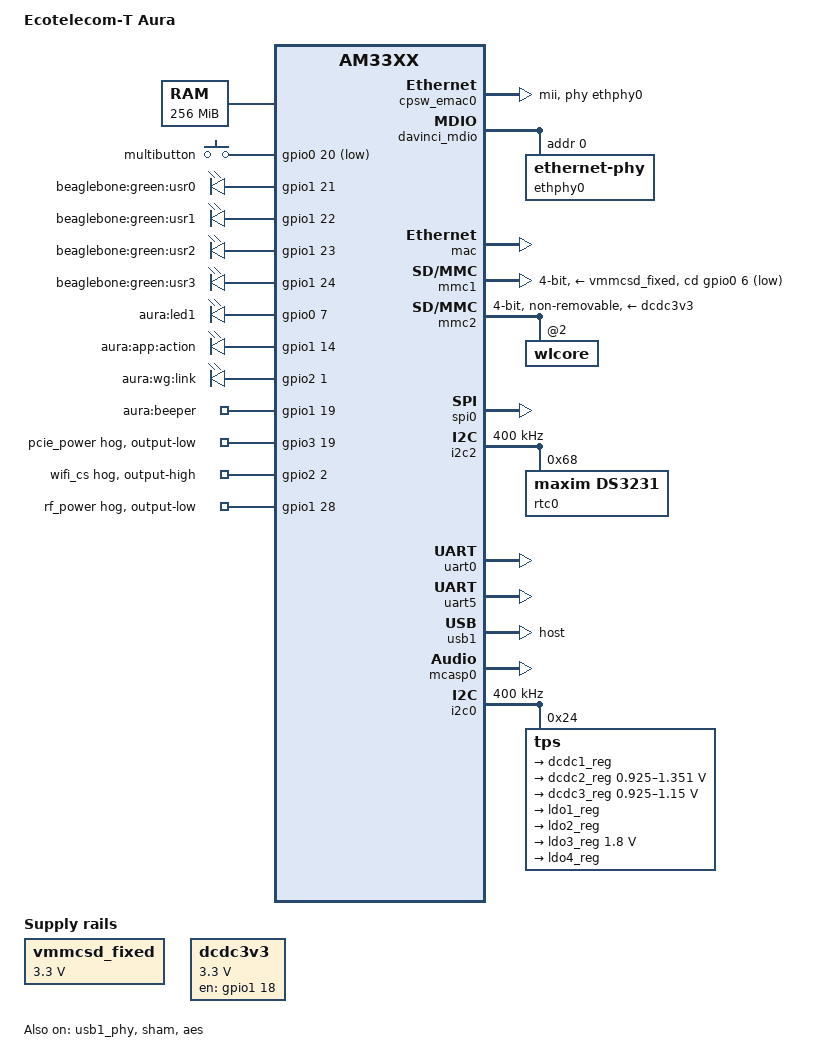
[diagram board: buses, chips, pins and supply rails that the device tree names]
// SPDX-License-Identifier: GPL-2.0-only
/*
 * Copyright (C) 2020 Ecotelecom-T
 */
/dts-v1/;

#include "am33xx.dtsi"
#include <dt-bindings/input/input.h>
#include <dt-bindings/leds/common.h>

/ {
	model = "Ecotelecom-T Aura";
	compatible = "aura,am335x-aura", "ti,am33xx";

	cpus {
		cpu@0 {
			cpu0-supply = <&dcdc2_reg>;
		};
	};

	memory@80000000 {
		device_type = "memory";
		reg = <0x80000000 0x10000000>; /* 256 MB */
	};

	user_buttons: user_buttons {
		compatible = "gpio-keys";
		pinctrl-names = "default";
		pinctrl-0 = <&user_buttons_pins>;
		autorepeat;

		button@0 {
			label = "multibutton";
			linux,code = <KEY_POWER>;
			gpios = <&gpio0 20 GPIO_ACTIVE_LOW>;
			wakeup-source;
		};
	};

	leds: user_leds {
		
		pinctrl-names = "default";
		pinctrl-0 = <&user_leds_s0>;

		compatible = "gpio-leds";

		usr_0_led {
			label = "beaglebone:green:usr0";
			gpios = <&gpio1 21 GPIO_ACTIVE_HIGH>;
			linux,default-trigger = "oneshot";
			default-state = "off";
		};

		usr_1_led {
			label = "beaglebone:green:usr1";
			gpios = <&gpio1 22 GPIO_ACTIVE_HIGH>;
			linux,default-trigger = "mmc0";
			default-state = "off";
		};

		usr_2_led {
			label = "beaglebone:green:usr2";
			gpios = <&gpio1 23 GPIO_ACTIVE_HIGH>;
			linux,default-trigger = "cpu0";
			default-state = "off";
		};

		usr_3_led {
			label = "beaglebone:green:usr3";
			gpios = <&gpio1 24 GPIO_ACTIVE_HIGH>;
			linux,default-trigger = "mmc1";
			default-state = "off";
		};

		usr_4_led {
			label = "aura:led1";
			gpios = <&gpio0 7 GPIO_ACTIVE_HIGH>;
			linux,default-trigger = "oneshot";
			default-state = "on";
		};

		usr_5_led {
			label = "aura:app:action";
			gpios = <&gpio1 14 GPIO_ACTIVE_HIGH>;
			linux,default-trigger = "transient";
			default-state = "off";
		};

		usr_6_led {
			label = "aura:wg:link";
			gpios = <&gpio2 1 GPIO_ACTIVE_HIGH>;
			linux,default-trigger = "netdev";
			default-state = "off";
		};

		usr_7_led {
			label = "aura:beeper";
			gpios = <&gpio1 19 GPIO_ACTIVE_HIGH>;
			linux,default-trigger = "oneshot";
			default-state = "off";
		};
	};

	pcm5102a: pcm5102a {
		#sound-dai-cells = <0>;
		compatible = "ti,pcm5102a";
		status = "okay";
	};

	sound {
		compatible = "simple-audio-card";
		simple-audio-card,name = "TI PCM5102A";
		simple-audio-card,format = "i2s";
		simple-audio-card,bitclock-master = <&dailink0_master>;
		simple-audio-card,frame-master = <&dailink0_master>;
		simple-audio-card,bitclock-inversion;
		dailink0_master: simple-audio-card,cpu {
			sound-dai = <&mcasp0>;
			system-clock-frequency = <24000000>;
			system-clock-direction-out;
		};
		
		simple-audio-card,codec {
			sound-dai = <&pcm5102a>;     
		};
	};

	vmmcsd_fixed: fixedregulator0 {
		compatible = "regulator-fixed";
		regulator-name = "vmmcsd_fixed";
		regulator-min-microvolt = <3300000>;
		regulator-max-microvolt = <3300000>;		
		regulator-always-on;
	};

	dcdc3v3: fixedregulator1 {
		compatible = "regulator-fixed";
		regulator-name = "dcdc3v3";
		regulator-min-microvolt = <3300000>;
		regulator-max-microvolt = <3300000>;
		regulator-always-on;
		enable-active-high;
		gpio = <&gpio1 18 GPIO_ACTIVE_HIGH >; /* P9-14 */
	};

};

/* Ethernet */
&cpsw_emac0 {
	status = "okay";
	phy-handle = <&ethphy0>;
	phy-mode = "mii";
};


&davinci_mdio {
	pinctrl-names = "default", "sleep";
	pinctrl-0 = <&davinci_mdio_default>;
	pinctrl-1 = <&davinci_mdio_sleep>;
	status = "okay";

	ethphy0: ethernet-phy@0 {
		reg = <0>;
	};
};

&mac {
	slaves = <1>;
	pinctrl-names = "default", "sleep";
	pinctrl-0 = <&cpsw_default>;
	pinctrl-1 = <&cpsw_sleep>;
	status = "okay";
};

&am33xx_pinmux {
	cpsw_default: cpsw_default {
		pinctrl-single,pins = <
			/* Slave 1 */
			AM33XX_PADCONF(AM335X_PIN_MII1_RX_ER, PIN_INPUT_PULLUP, MUX_MODE0)
			AM33XX_PADCONF(AM335X_PIN_MII1_TX_EN, PIN_OUTPUT_PULLDOWN, MUX_MODE0)
			AM33XX_PADCONF(AM335X_PIN_MII1_RX_DV, PIN_INPUT_PULLUP, MUX_MODE0)
			AM33XX_PADCONF(AM335X_PIN_MII1_TXD3, PIN_OUTPUT_PULLDOWN, MUX_MODE0)
			AM33XX_PADCONF(AM335X_PIN_MII1_TXD2, PIN_OUTPUT_PULLDOWN, MUX_MODE0)
			AM33XX_PADCONF(AM335X_PIN_MII1_TXD1, PIN_OUTPUT_PULLDOWN, MUX_MODE0)
			AM33XX_PADCONF(AM335X_PIN_MII1_TXD0, PIN_OUTPUT_PULLDOWN, MUX_MODE0)
			AM33XX_PADCONF(AM335X_PIN_MII1_TX_CLK, PIN_INPUT_PULLUP, MUX_MODE0)
			AM33XX_PADCONF(AM335X_PIN_MII1_RX_CLK, PIN_INPUT_PULLUP, MUX_MODE0)
			AM33XX_PADCONF(AM335X_PIN_MII1_RXD3, PIN_INPUT_PULLUP, MUX_MODE0)
			AM33XX_PADCONF(AM335X_PIN_MII1_RXD2, PIN_INPUT_PULLUP, MUX_MODE0)
			AM33XX_PADCONF(AM335X_PIN_MII1_RXD1, PIN_INPUT_PULLUP, MUX_MODE0)
			AM33XX_PADCONF(AM335X_PIN_MII1_RXD0, PIN_INPUT_PULLUP, MUX_MODE0)
		>;
	};

	cpsw_sleep: cpsw_sleep {
		pinctrl-single,pins = <
			/* Slave 1 reset value */
			AM33XX_PADCONF(AM335X_PIN_MII1_RX_ER, PIN_INPUT_PULLDOWN, MUX_MODE7)
			AM33XX_PADCONF(AM335X_PIN_MII1_TX_EN, PIN_INPUT_PULLDOWN, MUX_MODE7)
			AM33XX_PADCONF(AM335X_PIN_MII1_RX_DV, PIN_INPUT_PULLDOWN, MUX_MODE7)
			AM33XX_PADCONF(AM335X_PIN_MII1_TXD3, PIN_INPUT_PULLDOWN, MUX_MODE7)
			AM33XX_PADCONF(AM335X_PIN_MII1_TXD2, PIN_INPUT_PULLDOWN, MUX_MODE7)
			AM33XX_PADCONF(AM335X_PIN_MII1_TXD1, PIN_INPUT_PULLDOWN, MUX_MODE7)
			AM33XX_PADCONF(AM335X_PIN_MII1_TXD0, PIN_INPUT_PULLDOWN, MUX_MODE7)
			AM33XX_PADCONF(AM335X_PIN_MII1_TX_CLK, PIN_INPUT_PULLDOWN, MUX_MODE7)
			AM33XX_PADCONF(AM335X_PIN_MII1_RX_CLK, PIN_INPUT_PULLDOWN, MUX_MODE7)
			AM33XX_PADCONF(AM335X_PIN_MII1_RXD3, PIN_INPUT_PULLDOWN, MUX_MODE7)
			AM33XX_PADCONF(AM335X_PIN_MII1_RXD2, PIN_INPUT_PULLDOWN, MUX_MODE7)
			AM33XX_PADCONF(AM335X_PIN_MII1_RXD1, PIN_INPUT_PULLDOWN, MUX_MODE7)
			AM33XX_PADCONF(AM335X_PIN_MII1_RXD0, PIN_INPUT_PULLDOWN, MUX_MODE7)
		>;
	};

	davinci_mdio_default: davinci_mdio_default {
		pinctrl-single,pins = <
			/* MDIO */
			AM33XX_PADCONF(AM335X_PIN_MDIO, PIN_INPUT_PULLUP | SLEWCTRL_FAST, MUX_MODE0)
			AM33XX_PADCONF(AM335X_PIN_MDC, PIN_OUTPUT_PULLUP, MUX_MODE0)
		>;
	};

	davinci_mdio_sleep: davinci_mdio_sleep {
		pinctrl-single,pins = <
			/* MDIO reset value */
			AM33XX_PADCONF(AM335X_PIN_MDIO, PIN_INPUT_PULLDOWN, MUX_MODE7)
			AM33XX_PADCONF(AM335X_PIN_MDC, PIN_INPUT_PULLDOWN, MUX_MODE7)
		>;
	};


	mdio_pins: pinmux_mdio {
		pinctrl-single,pins = <
			AM33XX_PADCONF(AM335X_PIN_MDIO, PIN_INPUT_PULLUP | SLEWCTRL_FAST, MUX_MODE0)
			AM33XX_PADCONF(AM335X_PIN_MDC, PIN_OUTPUT_PULLUP, MUX_MODE0)
		>;
	};

	user_leds_s0: user_leds_s0 {
		pinctrl-single,pins = <
			AM33XX_PADCONF(AM335X_PIN_GPMC_A5, PIN_OUTPUT, MUX_MODE7) /* (V15) gpmc_a5.gpio1[21] - USR_LED_0 */
			AM33XX_PADCONF(AM335X_PIN_GPMC_A6, PIN_OUTPUT, MUX_MODE7) /* (U15) gpmc_a6.gpio1[22] - USR_LED_1 */
			AM33XX_PADCONF(AM335X_PIN_GPMC_A7, PIN_OUTPUT, MUX_MODE7) /* (T15) gpmc_a7.gpio1[23] - USR_LED_2 */
			AM33XX_PADCONF(AM335X_PIN_GPMC_A8, PIN_OUTPUT, MUX_MODE7) /* (V16) gpmc_a8.gpio1[24] - USR_LED_3 */
			AM33XX_PADCONF(AM335X_PIN_ECAP0_IN_PWM0_OUT, PIN_OUTPUT, MUX_MODE7) /* (C18) gpio0[7] - TOP_LED */
		>;
	};

	audio_pins: pinmux_audio_pins {
		pinctrl-single,pins = <
			AM33XX_PADCONF(AM335X_PIN_MCASP0_AHCLKX, PIN_INPUT_PULLUP, MUX_MODE0) /* mcasp0_ahcklx.mcasp0_ahclkx */
			AM33XX_PADCONF(AM335X_PIN_MCASP0_AHCLKR, PIN_OUTPUT_PULLDOWN, MUX_MODE2) /* mcasp0_ahclkr.mcasp0_axr2*/
			AM33XX_PADCONF(AM335X_PIN_MCASP0_FSX, PIN_OUTPUT_PULLUP, MUX_MODE0)
			AM33XX_PADCONF(AM335X_PIN_MCASP0_ACLKX, PIN_OUTPUT_PULLDOWN, MUX_MODE0)
		>;
	};

	uart0_pins: pinmux_uart0 {
		pinctrl-single,pins = <
			AM33XX_PADCONF(AM335X_PIN_UART0_RXD, PIN_INPUT_PULLUP, MUX_MODE0)
			AM33XX_PADCONF(AM335X_PIN_UART0_TXD, PIN_OUTPUT_PULLDOWN, MUX_MODE0)
		>;
	};

	uart5_pins: pinmux_uart5 {
		pinctrl-single,pins = <
			AM33XX_PADCONF(AM335X_PIN_LCD_DATA9, PIN_INPUT_PULLUP, MUX_MODE4)	/* (U2) lcd_data9.uart5_rxd */
			AM33XX_PADCONF(AM335X_PIN_LCD_DATA8, PIN_OUTPUT_PULLDOWN, MUX_MODE4)	/* (U1) lcd_data8.uart5_txd */
		>;
	};

	sd_pins: pinmux_sd_card {
		pinctrl-single,pins = <
			AM33XX_PADCONF(AM335X_PIN_MMC0_DAT3, PIN_INPUT_PULLUP, MUX_MODE0)
			AM33XX_PADCONF(AM335X_PIN_MMC0_DAT2, PIN_INPUT_PULLUP, MUX_MODE0)
			AM33XX_PADCONF(AM335X_PIN_MMC0_DAT1, PIN_INPUT_PULLUP, MUX_MODE0)
			AM33XX_PADCONF(AM335X_PIN_MMC0_DAT0, PIN_INPUT_PULLUP, MUX_MODE0)
			AM33XX_PADCONF(AM335X_PIN_MMC0_CLK, PIN_INPUT_PULLUP, MUX_MODE0)
			AM33XX_PADCONF(AM335X_PIN_MMC0_CMD, PIN_INPUT_PULLUP, MUX_MODE0)
			AM33XX_PADCONF(AM335X_PIN_SPI0_CS1, PIN_INPUT, MUX_MODE7)		/* spi0_cs1.gpio0_6 */
		>;
	};

	wireless_pins: pinmux_emmc {
		pinctrl-single,pins = <
			AM33XX_PADCONF(AM335X_PIN_GPMC_CSN1, PIN_INPUT_PULLUP, MUX_MODE2)	/* gpmc_csn1.mmc1_clk */
			AM33XX_PADCONF(AM335X_PIN_GPMC_CSN2, PIN_INPUT_PULLUP, MUX_MODE2)	/* gpmc_csn2.mmc1_cmd */
			AM33XX_PADCONF(AM335X_PIN_GPMC_AD0, PIN_INPUT_PULLUP, MUX_MODE1)	/* gpmc_ad0.mmc1_dat0 */
			AM33XX_PADCONF(AM335X_PIN_GPMC_AD1, PIN_INPUT_PULLUP, MUX_MODE1)	/* gpmc_ad1.mmc1_dat1 */
			AM33XX_PADCONF(AM335X_PIN_GPMC_AD2, PIN_INPUT_PULLUP, MUX_MODE1)	/* gpmc_ad2.mmc1_dat2 */
			AM33XX_PADCONF(AM335X_PIN_GPMC_AD3, PIN_INPUT_PULLUP, MUX_MODE1)	/* gpmc_ad3.mmc1_dat3 */
		>;
	};

	gpio1_pins: pinmux_gpio1 {
		pinctrl-single,pins = <
			AM33XX_PADCONF(AM335X_PIN_GPMC_BEN1, PIN_OUTPUT, MUX_MODE7) /* rf_power */
		>;
	};

	gpio2_pins: pinmux_gpio2 {
		pinctrl-single,pins = <
			AM33XX_PADCONF(AM335X_PIN_GPMC_ADVN_ALE, PIN_OUTPUT_PULLDOWN, MUX_MODE7) /* wifi_cs */
		>;
	};

	gpio3_pins: pinmux_gpio3 {
		pinctrl-single,pins = <
			AM33XX_PADCONF(AM335X_PIN_MCASP0_FSR, PIN_OUTPUT, MUX_MODE7) /* pcie_power */
		>;
	};

	spi0_pins: pinmux_spi0 {
		pinctrl-single,pins = <
			AM33XX_PADCONF(AM335X_PIN_SPI0_SCLK, PIN_INPUT_PULLUP, MUX_MODE0)
			AM33XX_PADCONF(AM335X_PIN_SPI0_CS0, PIN_INPUT_PULLUP, MUX_MODE0)
			AM33XX_PADCONF(AM335X_PIN_SPI0_D0, PIN_INPUT_PULLUP, MUX_MODE0)
			AM33XX_PADCONF(AM335X_PIN_SPI0_D1, PIN_INPUT_PULLUP, MUX_MODE0)
		>;
	};

	i2c2_pins: pinmux_i2c2 {
		pinctrl-single,pins = <
			AM33XX_PADCONF(AM335X_PIN_UART1_CTSN, PIN_INPUT_PULLUP, MUX_MODE3)
			AM33XX_PADCONF(AM335X_PIN_UART1_RTSN, PIN_INPUT_PULLUP, MUX_MODE3)
		>;
	};

	user_buttons_pins: pinmux_user_buttons {
		pinctrl-single,pins = <
			AM33XX_PADCONF(AM335X_PIN_XDMA_EVENT_INTR1, PIN_INPUT_PULLDOWN, MUX_MODE7)/* (D14) gpio0[20] - USER BUTTON */
		>;
	};

	i2c0_pins: pinmux_i2c0_pins {
		pinctrl-single,pins = <
			AM33XX_PADCONF(AM335X_PIN_I2C0_SDA, PIN_INPUT, MUX_MODE0)
			AM33XX_PADCONF(AM335X_PIN_I2C0_SCL, PIN_INPUT, MUX_MODE0)
		>;
	};

	beeper_pins: pinmux_beeper {
		pinctrl-single,pins = <
			AM33XX_PADCONF(AM335X_PIN_GPMC_A3, PIN_OUTPUT, MUX_MODE7) /* (T14) gpio1[19] OR EHRPWM1B - BUZZER */
		>;
	};

};

/* MMC */
&mmc1 {
	/* Bootable SD card slot */
	status = "okay";
	bus-width = <4>;
	pinctrl-names = "default";
	pinctrl-0 = <&sd_pins>;
	cd-gpios = <&gpio0 6 GPIO_ACTIVE_LOW>;
	vmmc-supply = <&vmmcsd_fixed>;
};

&mmc2 {
	/* Wifi on MMC #2 */
	status = "okay";
	pinctrl-names = "default";
	pinctrl-0 = <&wireless_pins>;
	bus-width = <4>;
	ti,non-removable;
	non-removable;
	keep-power-in-suspend;
	/*
	dmas = <&edma_xbar 12 0 1
		&edma_xbar 13 0 2>;
	dma-names = "tx", "rx";
	*/
	vmmc-supply = <&dcdc3v3>;
	
	#address-cells = <1>;
	#size-cells = <0>;
	wlcore: wlcore@2 {
		reg = <2>;
	};
};

&gpio3 {
	pinctrl-names = "default";
	pinctrl-0 = <&gpio3_pins>;
	status = "okay";
	pcie_power {
		gpio-hog;
		gpios = <19 GPIO_ACTIVE_HIGH>;
		output-low;
		line-name = "pcie_power";
	};
};

&gpio2 {
	pinctrl-names = "default";
	pinctrl-0 = <&gpio2_pins>;
	wifi_cs {
		gpio-hog;
		gpios = <2 GPIO_ACTIVE_HIGH>;
		output-high;
		line-name = "wifi_cs";
	};
};

&gpio1 {
	pinctrl-names = "default";
	pinctrl-0 = <&gpio1_pins>;
	status = "okay";

	rf_power {
		gpio-hog;
		gpios = <28 GPIO_ACTIVE_HIGH>;
		output-low;
		line-name = "rf_power";
	};
};

/* SPI Busses */
&spi0 {
	status = "okay";
	pinctrl-names = "default";
	pinctrl-0 = <&spi0_pins>;
};

/* RTC */
&i2c2 {
	status = "okay";
	pinctrl-names = "default";
	pinctrl-0 = <&i2c2_pins>;

	clock-frequency = <400000>;

	rtc0: rtc@68 {
		compatible = "maxim,ds3231";
		reg = <0x68>;
		status = "okay";
	};
};

&rtc {
	status = "disabled";
};


/* UARTs */
&uart0 {
	/* Serial Console */
	status = "okay";
	pinctrl-names = "default";
	pinctrl-0 = <&uart0_pins>;
};

&uart5 {
	/* Zigbee */
	status = "okay";
	pinctrl-names = "default";
	pinctrl-0 = <&uart5_pins>;
};

/* PWM */
//&ehrpwm1 {
//	status = "okay";
//	pinctrl-names = "default";
//	pinctrl-0 = <&beeper_pins>;
//};

/* USB */

&usb1_phy {
	status = "okay";
};


&usb1 {
	status = "okay";
    dr_mode = "host";
};

&cppi41dma {
	status = "okay";
};

&mcasp0 {
	#sound-dai-cells= <0>;
	pinctrl-names = "default";
	pinctrl-0 = <&audio_pins>;
	status = "okay";
	op-mode = <0>;          /* MCASP_IIS_MODE */
	tdm-slots = <2>;
	serial-dir = <  /* 0: INACTIVE, 1: TX, 2: RX */
		0 0 1 0
	>;
	tx-num-evt = <32>;
	rx-num-evt = <32>;
};


&i2c0 {
	pinctrl-names = "default";
	pinctrl-0 = <&i2c0_pins>;

	status = "okay";
	clock-frequency = <400000>;

	tps: tps@24 {
		reg = <0x24>;
	};

};

/include/ "tps65217.dtsi"

&tps {
	ti,pmic-shutdown-controller;
	interrupt-parent = <&intc>;
	interrupts = <7>; /* NMI */

	regulators {
		dcdc1_reg: regulator@0 {
			regulator-name = "vdds_dpr";
			regulator-always-on;
		};

		dcdc2_reg: regulator@1 {
			regulator-name = "vdd_mpu";
			regulator-min-microvolt = <925000>;
			regulator-max-microvolt = <1351500>;
			regulator-boot-on;
			regulator-always-on;
		};

		dcdc3_reg: regulator@2 {
			regulator-name = "vdd_core";
			regulator-min-microvolt = <925000>;
			regulator-max-microvolt = <1150000>;
			regulator-boot-on;
			regulator-always-on;
		};

		ldo1_reg: regulator@3 {
			regulator-name = "vio,vrtc,vdds";
			regulator-always-on;
		};

		ldo2_reg: regulator@4 {
			regulator-name = "vdd_3v3aux";
			regulator-always-on;
		};

		ldo3_reg: regulator@5 {
			regulator-name = "vdd_1v8";
			regulator-min-microvolt = <1800000>;
			regulator-max-microvolt = <1800000>;
			regulator-always-on;
		};

		ldo4_reg: regulator@6 {
			regulator-name = "vdd_3v3a";
			regulator-always-on;
		};
	};
};

&sham {
	status = "okay";
};

&aes {
	status = "okay";
};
